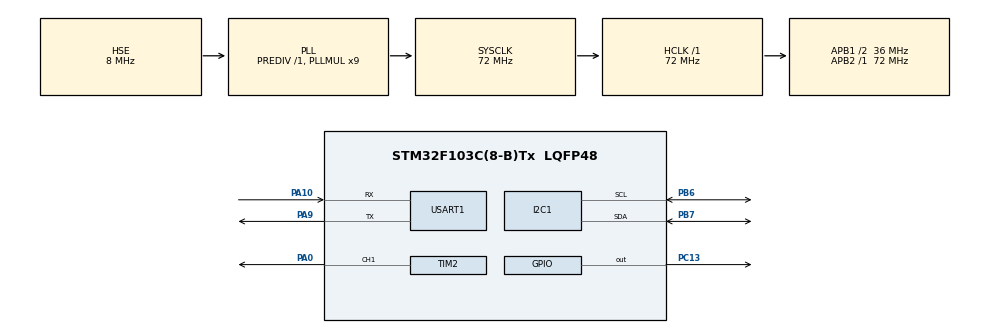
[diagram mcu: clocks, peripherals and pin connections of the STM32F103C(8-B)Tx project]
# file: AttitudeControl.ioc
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Mcu.Family=STM32F1
Mcu.Name=STM32F103C(8-B)Tx
Mcu.Package=LQFP48
NVIC.PriorityGroup=NVIC_PRIORITYGROUP_4
NVIC.TIM3_IRQn=true\:0\:0\:false\:false\:true\:true\:true\:true
PA0-WKUP.Signal=S_TIM2_CH1_ETR
PA10.Mode=Asynchronous
PA10.Signal=USART1_RX
PA13.Mode=Serial_Wire
PA13.Signal=SYS_JTMS-SWDIO
PA14.Mode=Serial_Wire
PA14.Signal=SYS_JTCK-SWCLK
PA9.Mode=Asynchronous
PA9.Signal=USART1_TX
PB6.Mode=I2C
PB6.Signal=I2C1_SCL
PB7.Mode=I2C
PB7.Signal=I2C1_SDA
PC13-TAMPER-RTC.GPIO_ModeDefaultOutputPP=GPIO_MODE_OUTPUT_OD
PC13-TAMPER-RTC.GPIO_PuPd=GPIO_NOPULL
PC13-TAMPER-RTC.PinState=GPIO_PIN_SET
PC13-TAMPER-RTC.Signal=GPIO_Output
PD0-OSC_IN.Mode=HSE-External-Oscillator
PD0-OSC_IN.Signal=RCC_OSC_IN
PD1-OSC_OUT.Mode=HSE-External-Oscillator
PD1-OSC_OUT.Signal=RCC_OSC_OUT
ProjectManager.HeapSize=0x200
ProjectManager.StackSize=0x400
ProjectManager.TargetToolchain=MDK-ARM V5.32
RCC.AHBFreq_Value=72000000
RCC.APB1CLKDivider=RCC_HCLK_DIV2
RCC.APB1Freq_Value=36000000
RCC.APB1TimFreq_Value=72000000
RCC.APB2Freq_Value=72000000
RCC.APB2TimFreq_Value=72000000
RCC.HCLKFreq_Value=72000000
RCC.PLLMUL=RCC_PLL_MUL9
RCC.PLLSourceVirtual=RCC_PLLSOURCE_HSE
RCC.SYSCLKFreq_VALUE=72000000
RCC.SYSCLKSource=RCC_SYSCLKSOURCE_PLLCLK
RCC.USBFreq_Value=72000000
SH.S_TIM2_CH1_ETR.0=TIM2_CH1,PWM Generation1 CH1
TIM2.Channel-PWM\ Generation1\ CH1=TIM_CHANNEL_1
TIM2.Period=19999
TIM2.Prescaler=71
TIM2.Pulse-PWM\ Generation1\ CH1=1500
TIM3.Period=100-1
TIM3.Prescaler=7200-1
USART1.VirtualMode=VM_ASYNC
VP_TIM2_VS_ClockSourceINT.Mode=Internal
VP_TIM3_VS_ClockSourceINT.Mode=Internal
board=custom

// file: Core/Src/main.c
/* USER CODE BEGIN Header */
/**
  ******************************************************************************
  * @file           : main.c
  * @brief          : Main program body
  ******************************************************************************
  * @attention
  *
  * Copyright (c) 2026 STMicroelectronics.
  * All rights reserved.
  *
  * This software is licensed under terms that can be found in the LICENSE file
  * in the root directory of this software component.
  * If no LICENSE file comes with this software, it is provided AS-IS.
  *
  ******************************************************************************
  */
/* USER CODE END Header */
#include "main.h"
#include "i2c.h"
#include "tim.h"
#include "usart.h"
#include "gpio.h"

/* USER CODE BEGIN Includes */
#include "LED.h"
#include "usart_app.h"
#include <stdio.h>
#include "pwm.h"
#include "MPU6050.h"
#include "attitude.h"
#include "pid.h"
/* USER CODE END Includes */

/* USER CODE BEGIN PV */
MPU6050_Data_t MPU6050_Data;
Attitude_t Attitude;
PID_t Roll_PID;
float Servo_Output;
float Servo_Angle;
volatile uint32_t tick_cnt = 0;      /* TIM3 中断产生的控制节拍数 */
uint32_t tick_last = 0;     /* 主循环已经处理的控制节拍数 */
uint32_t miss_cnt = 0;             /* 主循环来不及处理、被跳过的控制周期数 */
uint8_t print_cnt = 0;                    /* 串口打印分频计数 */
#define LOOP_DT 0.01f
/*float Roll_Bias = 0;
float Pitch_Bias = 0;*/
/* USER CODE END PV */

void SystemClock_Config(void);
/* USER CODE BEGIN PFP */
void Control_Process(void);
/* USER CODE END PFP */

int main(void)
{

  /* MCU Configuration--------------------------------------------------------*/

  /* Reset of all peripherals, Initializes the Flash interface and the Systick. */
  HAL_Init();

  /* Configure the system clock */
  SystemClock_Config();

  /* Initialize all configured peripherals */
  MX_GPIO_Init();
  MX_USART1_UART_Init();
  MX_TIM2_Init();
  MX_I2C1_Init();
  MX_TIM3_Init();
  /* USER CODE BEGIN 2 */
  HAL_Delay(200);    // 等待系统和MPU6050电源稳定
  /* 初始化失败时停止启动，避免使用无效传感器数据 */
  if (MPU6050_Init() != HAL_OK)
  {
    printf("MPU6050 init failed\r\n");
    Error_Handler();
  }
  HAL_Delay(1000);		//等待传感器稳定
  /* 标定失败时停止启动，避免使用错误的姿态零偏 */
  if (MPU6050_Calibrate() != HAL_OK)
  {
    printf("MPU6050 calibration failed\r\n");
    Error_Handler();
  }
  PID_Init(&Roll_PID,2.0f,0.0f,0.1f,45.0f);//初始化PID
  PWM_Start();
  Servo_SetAngle(90);
  HAL_Delay(300);    // 等待舵机到中位
  HAL_TIM_Base_Start_IT(&htim3); //定时器3产生10ms定时中断
  /* USER CODE END 2 */

  /* Infinite loop */
  /* USER CODE BEGIN WHILE */
  while (1)
  {
    Control_Process();

    /* USER CODE END WHILE */

  }
}

void SystemClock_Config(void)
{
  RCC_OscInitTypeDef RCC_OscInitStruct = {0};
  RCC_ClkInitTypeDef RCC_ClkInitStruct = {0};

  /** Initializes the RCC Oscillators according to the specified parameters
  * in the RCC_OscInitTypeDef structure.
  */
  RCC_OscInitStruct.OscillatorType = RCC_OSCILLATORTYPE_HSE;
  RCC_OscInitStruct.HSEState = RCC_HSE_ON;
  RCC_OscInitStruct.HSEPredivValue = RCC_HSE_PREDIV_DIV1;
  RCC_OscInitStruct.HSIState = RCC_HSI_ON;
  RCC_OscInitStruct.PLL.PLLState = RCC_PLL_ON;
  RCC_OscInitStruct.PLL.PLLSource = RCC_PLLSOURCE_HSE;
  RCC_OscInitStruct.PLL.PLLMUL = RCC_PLL_MUL9;
  if (HAL_RCC_OscConfig(&RCC_OscInitStruct) != HAL_OK)
  {
    Error_Handler();
  }

  /** Initializes the CPU, AHB and APB buses clocks
  */
  RCC_ClkInitStruct.ClockType = RCC_CLOCKTYPE_HCLK|RCC_CLOCKTYPE_SYSCLK
                              |RCC_CLOCKTYPE_PCLK1|RCC_CLOCKTYPE_PCLK2;
  RCC_ClkInitStruct.SYSCLKSource = RCC_SYSCLKSOURCE_PLLCLK;
  RCC_ClkInitStruct.AHBCLKDivider = RCC_SYSCLK_DIV1;
  RCC_ClkInitStruct.APB1CLKDivider = RCC_HCLK_DIV2;
  RCC_ClkInitStruct.APB2CLKDivider = RCC_HCLK_DIV1;

  if (HAL_RCC_ClockConfig(&RCC_ClkInitStruct, FLASH_LATENCY_2) != HAL_OK)
  {
    Error_Handler();
  }
}

/* USER CODE BEGIN 4 */
/* 主循环中执行一次控制处理，实际的传感器读取和算法都在这里完成 */
void Control_Process(void)
{
    uint32_t pending;
    uint32_t now_tick = tick_cnt;

    if (now_tick == tick_last)
    {
        return;
    }

    pending = now_tick - tick_last;
    tick_last = now_tick;

    /* 统计主循环没有及时处理的控制周期数 */
    if (pending > 1)
    {
        miss_cnt += pending - 1;
    }

    /* 读取失败时跳过本次控制计算 */
    if (MPU6050_GetData(&MPU6050_Data) != HAL_OK)
    {
        return;
    }

    Attitude_Update(&MPU6050_Data, &Attitude, LOOP_DT);

    Servo_Output = PID_Calculate(&Roll_PID, 0.0f, Attitude.Roll, LOOP_DT);

    Servo_Angle = 90.0f + Servo_Output;
    if (Servo_Angle > 135.0f) Servo_Angle = 135.0f;
    if (Servo_Angle < 45.0f) Servo_Angle = 45.0f;
    Servo_SetAngle(Servo_Angle);

    /* 每 10 个控制周期打印一次，约 10 Hz */
    print_cnt++;
    if (print_cnt >= 10)
    {
        print_cnt = 0;
        printf("Roll=%.2f PID=%.2f Servo=%.2f\r\n",
               Attitude.Roll,
               Servo_Output,
               Servo_Angle);
    }
}

/* TIM3 中断只记录控制节拍，耗时处理全部移到主循环 */
void HAL_TIM_PeriodElapsedCallback(TIM_HandleTypeDef *htim)
{
    if (htim->Instance == TIM3)
    {
        tick_cnt++;
    }
}
/* USER CODE END 4 */

void Error_Handler(void)
{
  __disable_irq();
  while (1)
  {
  }
}
